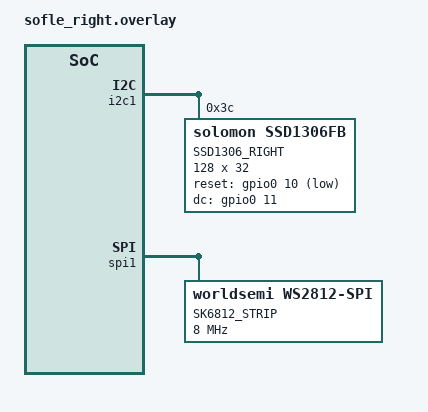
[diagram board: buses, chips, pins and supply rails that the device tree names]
// Device tree overlay for the right half of the Sofle keyboard with IL0323 display

&i2c1 {
    ssd1306: ssd1306@3c {
        compatible = "solomon,ssd1306fb";
        reg = <0x3c>;
        label = "SSD1306_RIGHT";
        width = <128>;
        height = <32>;
        segment-offset = <0>;
        row-offset = <0>;
        display-offset = <0>;
        multiplex-ratio = <31>;
        reset-gpios = <&gpio0 10 GPIO_ACTIVE_LOW>;
        dc-gpios = <&gpio0 11 GPIO_ACTIVE_HIGH>;
    };
};


&spi1 {
    sk6812_strip: sk6812-strip {
        compatible = "worldsemi,ws2812-spi";
        label = "SK6812_STRIP";
        chain-length = <29>;  // Anzahl der LEDs auf der rechten Seite
        spi-max-frequency = <8000000>;
        color-order = "GRB";
        pixel-format = "RGB";
    };
};
